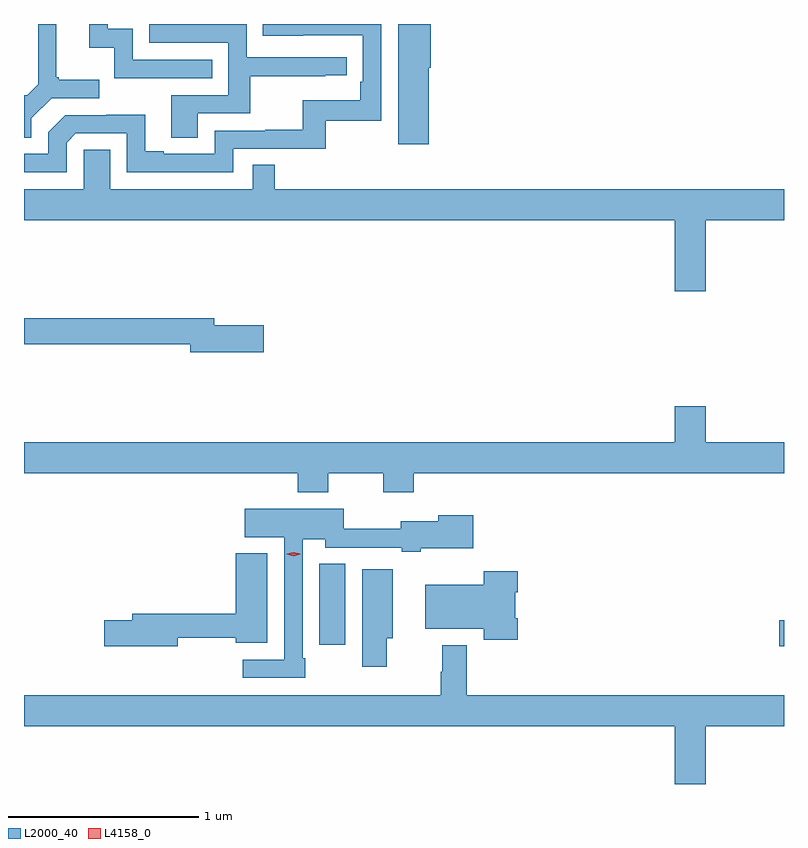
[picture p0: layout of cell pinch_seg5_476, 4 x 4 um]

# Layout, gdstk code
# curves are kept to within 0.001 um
import gdstk
lib = gdstk.Library(unit=1e-6, precision=1e-09)
def R(c, l, rs):  # rectangles x0, y0, x1, y1
    for r in rs: c.add(gdstk.rectangle(r[:2], r[2:], *l))
def P(c, l, *ps):  # polygons
    for p in ps: c.add(gdstk.Polygon(p, *l))
L2000_40 = (2000, 40)
L4158_0 = (4158, 0)

pinch_seg5_476 = lib.new_cell('pinch_seg5_476')
R(pinch_seg5_476, L2000_40, [(944.778,847.859,944.804,847.994), (942.359,847.866,942.496,848.291)])
P(pinch_seg5_476, L2000_40, [(941.719,850.662),(941.996,850.662),(941.996,850.858),(942.389,850.858),(942.389,850.863),(942.502,850.863),(942.502,850.959),(941.976,850.959),(941.976,851.131),(941.873,851.131),(941.873,851.133),(941.464,851.133),(941.464,851.034),(941.88,851.034),(941.88,850.758),(941.579,850.758),(941.579,850.534),(941.719,850.534)],
  [(941.028,850.509),(941.076,850.557),(941.346,850.557),(941.346,850.353),(941.904,850.353),(941.904,850.476),(942.391,850.476),(942.391,850.623),(942.684,850.623),(942.684,851.133),(942.061,851.133),(942.061,851.072),(942.588,851.073),(942.588,850.828),(942.575,850.828),(942.575,850.732),(942.27,850.732),(942.27,850.577),(942.073,850.577),(942.073,850.572),(941.808,850.572),(941.808,850.449),(941.539,850.449),(941.539,850.462),(941.443,850.462),(941.443,850.655),(941.238,850.655),(941.238,850.653),(941.022,850.653),(940.932,850.563),(940.932,850.449),(940.804,850.449),(940.804,850.353),(941.028,850.353)],
  [(941.795,850.944),(941.376,850.944),(941.376,851.107),(941.244,851.107),(941.244,851.133),(941.147,851.133),(941.147,851.009),(941.28,851.009),(941.28,850.848),(941.795,850.848)],
  [(942.934,850.902),(942.946,850.902),(942.946,851.133),(942.773,851.133),(942.773,850.5),(942.934,850.5)],
  [(940.843,850.636),(940.95,850.743),(941.2,850.743),(941.2,850.84),(940.987,850.84),(940.987,850.852),(940.975,850.852),(940.975,851.133),(940.878,851.133),(940.878,850.815),(940.821,850.758),(940.804,850.758),(940.804,850.534),(940.843,850.534)],
  [(944.392,850.1),(944.804,850.1),(944.804,850.264),(942.125,850.264),(942.125,850.391),(942.009,850.391),(942.009,850.264),(941.257,850.264),(941.257,850.472),(941.118,850.472),(941.118,850.264),(940.804,850.264),(940.804,850.1),(944.228,850.1),(944.228,849.726),(944.392,849.726)],
  [(942.067,849.548),(941.806,849.548),(941.806,849.584),(940.804,849.584),(940.804,849.448),(941.678,849.448),(941.678,849.406),(942.067,849.406)],
  [(942.405,848.768),(942.694,848.768),(942.694,848.669),(942.854,848.669),(942.854,848.768),(944.804,848.768),(944.804,848.932),(944.392,848.932),(944.392,849.121),(944.228,849.121),(944.228,848.932),(940.804,848.932),(940.804,848.768),(942.245,848.768),(942.245,848.669),(942.405,848.669)],
  [(942.283,847.795),(942.27,847.795),(942.27,848.42),(942.39,848.42),(942.39,848.376),(942.792,848.376),(942.792,848.356),(942.892,848.356),(942.892,848.375),(943.168,848.375),(943.168,848.548),(942.983,848.548),(942.983,848.515),(942.788,848.515),(942.788,848.477),(942.486,848.477),(942.486,848.581),(941.967,848.581),(941.967,848.432),(942.174,848.432),(942.174,847.788),(941.955,847.788),(941.955,847.692),(942.283,847.692)],
  [(941.614,847.902),(941.918,847.902),(941.918,847.877),(942.085,847.877),(942.085,848.347),(941.918,848.347),(941.918,848.03),(941.375,848.03),(941.375,847.994),(941.226,847.994),(941.226,847.859),(941.614,847.859)],
  [(942.714,847.901),(942.745,847.901),(942.745,848.263),(942.584,848.263),(942.584,847.749),(942.714,847.749)],
  [(943.403,848.005),(943.39,848.005),(943.39,848.141),(943.403,848.141),(943.403,848.254),(943.225,848.254),(943.225,848.182),(942.917,848.182),(942.917,847.949),(943.225,847.949),(943.225,847.893),(943.403,847.893)],
  [(944.392,847.436),(944.804,847.436),(944.804,847.6),(943.133,847.6),(943.133,847.864),(943.005,847.864),(943.005,847.724),(942.997,847.724),(942.997,847.6),(940.804,847.6),(940.804,847.436),(944.228,847.436),(944.228,847.133),(944.392,847.133)])
P(pinch_seg5_476, L4158_0, [(942.223,848.333),(942.188,848.343),(942.188,848.343),(942.188,848.344),(942.223,848.353),(942.258,848.344),(942.258,848.343),(942.258,848.343)])

lib.write_gds('pinch_seg5_476.gds')
